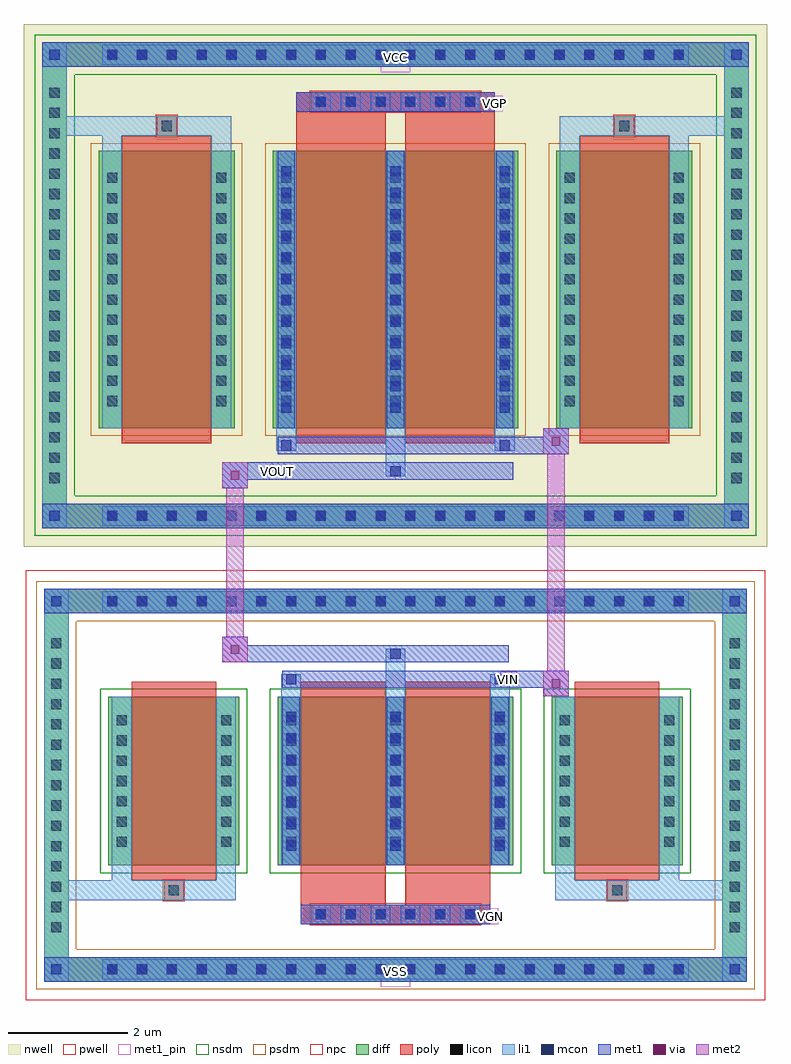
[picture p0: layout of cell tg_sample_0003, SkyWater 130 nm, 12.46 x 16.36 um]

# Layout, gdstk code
import gdstk
lib = gdstk.Library(unit=1e-6, precision=5e-09)
def R(c, l, rs):  # rectangles x0, y0, x1, y1
    for r in rs: c.add(gdstk.rectangle(r[:2], r[2:], *l))
def A(c, l, x, y, w, h, nx, ny, dx, dy):  # array of equal rectangles
    R(c, l, [(x+i*dx, y+j*dy, x+i*dx+w, y+j*dy+h) for i in range(nx) for j in range(ny)])
def P(c, l, *ps):  # polygons
    for p in ps: c.add(gdstk.Polygon(p, *l))
nwell = (64, 20)
pwell = (64, 44)
diff = (65, 20)
poly = (66, 20)
licon = (66, 44)
li1 = (67, 20)
mcon = (67, 44)
met1_pin = (68, 16)
met1 = (68, 20)
via = (68, 44)
met2 = (69, 20)
nsdm = (93, 44)
psdm = (94, 20)
npc = (95, 20)

tg_sample_0003 = lib.new_cell('tg_sample_0003')
R(tg_sample_0003, nwell, [(-6.23,4,6.23,12.76)])
R(tg_sample_0003, pwell, [(-6.2,-3.6,6.2,3.6)])
A(tg_sample_0003, diff, -4.955, -3.29, 0.41, 0.41, 20, 2, 0.5, 6.17)
A(tg_sample_0003, diff, -5.89, -2.585, 0.41, 0.41, 1, 15, 0, 0.34)
A(tg_sample_0003, diff, 5.48, -2.585, 0.41, 0.41, 1, 15, 0, 0.34)
A(tg_sample_0003, diff, -4.955, 4.31, 0.41, 0.41, 20, 2, 0.5, 7.73)
A(tg_sample_0003, diff, -5.92, 4.945, 0.41, 0.41, 1, 20, 0, 0.34)
A(tg_sample_0003, diff, 5.51, 4.945, 0.41, 0.41, 1, 20, 0, 0.34)
R(tg_sample_0003, diff, [(-4.955,-3.29,4.955,-2.88), (-5.89,-2.585,-5.48,2.585), (5.48,-2.585,5.89,2.585), (-4.815,-1.345,-2.615,1.485), (-1.975,-1.345,1.975,1.485), (2.615,-1.345,4.815,1.485), (-4.955,2.88,4.955,3.29), (-4.955,4.31,4.955,4.72), (-5.92,4.945,-5.51,11.815), (5.51,4.945,5.92,11.815), (-4.975,5.985,-2.695,10.635), (-2.055,5.985,2.055,10.635), (2.695,5.985,4.975,10.635), (-4.955,12.04,4.955,12.45)])
P(tg_sample_0003, diff, [(5.89,3.29),(-5.89,3.29),(-5.89,-2.88),(-5.48,-2.88),(-5.48,2.88),(5.48,2.88),(5.48,-2.88),(-5.48,-2.88),(-5.89,-2.88),(-5.89,-3.29),(5.89,-3.29)],
  [(5.92,4.31),(-5.92,4.31),(-5.92,12.04),(-5.51,12.04),(-5.51,4.72),(5.51,4.72),(5.51,12.04),(-5.51,12.04),(-5.92,12.04),(-5.92,12.45),(5.92,12.45)])
A(tg_sample_0003, poly, -1.415, -2.33, 0.33, 0.33, 6, 2, 0.5, 13.62)
R(tg_sample_0003, poly, [(-1.585,-2.33,1.585,-2), (-1.585,-2,-0.165,-1.595), (0.165,-2,1.585,-1.595), (-3.88,-1.925,-3.55,-1.595), (-3.88,-1.925,-3.55,-1.595), (3.55,-1.925,3.88,-1.595), (3.55,-1.925,3.88,-1.595), (-4.425,-1.595,-3.005,1.735), (-1.585,-1.595,-0.165,1.735), (0.165,-1.595,1.585,1.735), (3.005,-1.595,4.425,1.735), (-4.585,5.735,-3.085,10.885), (-1.665,5.735,-0.165,10.885), (0.165,5.735,1.665,10.885), (3.085,5.735,4.585,10.885), (-4,10.885,-3.67,11.215), (-4,10.885,-3.67,11.215), (-1.665,10.885,-0.165,11.29), (0.165,10.885,1.665,11.29), (3.67,10.885,4,11.215), (3.67,10.885,4,11.215), (-1.665,11.29,1.665,11.62)])
A(tg_sample_0003, licon, -4.835, -3.17, 0.17, 0.17, 20, 2, 0.5, 6.17)
A(tg_sample_0003, licon, -5.77, -2.465, 0.17, 0.17, 1, 15, 0, 0.34)
A(tg_sample_0003, licon, 5.6, -2.465, 0.17, 0.17, 1, 15, 0, 0.34)
A(tg_sample_0003, licon, -1.335, -2.25, 0.17, 0.17, 6, 2, 0.5, 13.62)
A(tg_sample_0003, licon, -4.675, -1.035, 0.17, 0.17, 1, 7, 0, 0.34)
A(tg_sample_0003, licon, -2.925, -1.035, 0.17, 0.17, 1, 7, 0, 0.34)
A(tg_sample_0003, licon, -1.835, -1.035, 0.17, 0.17, 3, 7, 1.75, 0.34)
A(tg_sample_0003, licon, 2.755, -1.035, 0.17, 0.17, 1, 7, 0, 0.34)
A(tg_sample_0003, licon, 4.505, -1.035, 0.17, 0.17, 1, 7, 0, 0.34)
A(tg_sample_0003, licon, -4.835, 4.43, 0.17, 0.17, 20, 2, 0.5, 7.73)
A(tg_sample_0003, licon, -5.8, 5.065, 0.17, 0.17, 1, 20, 0, 0.34)
A(tg_sample_0003, licon, 5.63, 5.065, 0.17, 0.17, 1, 20, 0, 0.34)
A(tg_sample_0003, licon, -4.835, 6.355, 0.17, 0.17, 1, 12, 0, 0.34)
A(tg_sample_0003, licon, -3.005, 6.355, 0.17, 0.17, 1, 12, 0, 0.34)
A(tg_sample_0003, licon, -1.915, 6.355, 0.17, 0.17, 3, 12, 1.83, 0.34)
A(tg_sample_0003, licon, 2.835, 6.355, 0.17, 0.17, 1, 12, 0, 0.34)
A(tg_sample_0003, licon, 4.665, 6.355, 0.17, 0.17, 1, 12, 0, 0.34)
R(tg_sample_0003, licon, [(-3.8,-1.845,-3.63,-1.675), (3.63,-1.845,3.8,-1.675), (-3.92,10.965,-3.75,11.135), (3.75,10.965,3.92,11.135)])
A(tg_sample_0003, li1, -4.915, -3.25, 0.33, 0.33, 20, 2, 0.5, 6.17)
A(tg_sample_0003, li1, -5.85, -2.545, 0.33, 0.33, 1, 15, 0, 0.34)
A(tg_sample_0003, li1, 5.52, -2.545, 0.33, 0.33, 1, 15, 0, 0.34)
A(tg_sample_0003, li1, -1.415, -2.33, 0.33, 0.33, 6, 2, 0.5, 13.62)
A(tg_sample_0003, li1, -1.915, -1.345, 0.33, 2.83, 3, 1, 1.75, 0)
A(tg_sample_0003, li1, -4.755, -1.115, 0.33, 0.33, 1, 7, 0, 0.34)
A(tg_sample_0003, li1, -3.005, -1.115, 0.33, 0.33, 1, 7, 0, 0.34)
A(tg_sample_0003, li1, -1.915, -1.115, 0.33, 0.33, 3, 7, 1.75, 0.34)
A(tg_sample_0003, li1, 2.675, -1.115, 0.33, 0.33, 1, 7, 0, 0.34)
A(tg_sample_0003, li1, 4.425, -1.115, 0.33, 0.33, 1, 7, 0, 0.34)
A(tg_sample_0003, li1, -1.835, -1.095, 0.17, 0.17, 3, 7, 1.75, 0.36)
A(tg_sample_0003, li1, -1.835, -1.095, 0.17, 2.33, 3, 1, 1.75, 0)
A(tg_sample_0003, li1, -4.915, 4.35, 0.33, 0.33, 20, 2, 0.5, 7.73)
A(tg_sample_0003, li1, -5.88, 4.985, 0.33, 0.33, 1, 20, 0, 0.34)
A(tg_sample_0003, li1, 5.55, 4.985, 0.33, 0.33, 1, 20, 0, 0.34)
A(tg_sample_0003, li1, -1.995, 5.985, 0.33, 4.65, 3, 1, 1.83, 0)
A(tg_sample_0003, li1, -1.915, 6.245, 0.17, 0.17, 3, 12, 1.83, 0.36)
A(tg_sample_0003, li1, -1.915, 6.245, 0.17, 4.13, 3, 1, 1.83, 0)
A(tg_sample_0003, li1, -4.915, 6.275, 0.33, 0.33, 1, 12, 0, 0.34)
A(tg_sample_0003, li1, -3.085, 6.275, 0.33, 0.33, 1, 12, 0, 0.34)
A(tg_sample_0003, li1, -1.995, 6.275, 0.33, 0.33, 3, 12, 1.83, 0.34)
A(tg_sample_0003, li1, 2.755, 6.275, 0.33, 0.33, 1, 12, 0, 0.34)
A(tg_sample_0003, li1, 4.585, 6.275, 0.33, 0.33, 1, 12, 0, 0.34)
R(tg_sample_0003, li1, [(-5.89,-3.29,-5.48,-2.88), (5.48,-3.29,5.89,-2.88), (-4.915,-3.25,4.915,-2.92), (-5.77,-3.17,-5.6,-3), (-5.77,-3.17,-5.6,-3), (5.6,-3.17,5.77,-3), (5.6,-3.17,5.77,-3), (-5.89,-2.88,-5.48,2.88), (5.48,-2.88,5.89,2.88), (-5.89,-1.925,-3.88,-1.595), (-4.755,-1.925,-3.88,-1.595), (-4.755,-1.925,-4.425,-1.345), (-3.88,-1.925,-3.55,-1.595), (-3.55,-1.925,-2.675,-1.595), (-3.005,-1.925,-2.675,-1.345), (2.675,-1.925,3.55,-1.595), (2.675,-1.925,3.005,-1.345), (3.55,-1.925,3.88,-1.595), (3.55,-1.925,5.89,-1.595), (3.88,-1.925,4.755,-1.595), (4.425,-1.925,4.755,-1.345), (-4.755,-1.345,-4.425,1.485), (-3.005,-1.345,-2.675,1.485), (2.675,-1.345,3.005,1.485), (4.425,-1.345,4.755,1.485), (-1.915,1.485,-1.585,1.86), (-0.165,1.485,0.165,2.29), (1.585,1.485,1.915,1.86), (-1.835,1.69,-1.665,1.86), (1.665,1.69,1.835,1.86), (-0.085,2.12,0.085,2.29), (-5.89,2.88,-5.48,3.29), (5.48,2.88,5.89,3.29), (-4.915,2.92,4.915,3.25), (-5.77,3,-5.6,3.17), (-5.77,3,-5.6,3.17), (5.6,3,5.77,3.17), (5.6,3,5.77,3.17), (-5.92,4.31,-5.51,4.72), (5.51,4.31,5.92,4.72), (-4.915,4.35,4.915,4.68), (-5.8,4.43,-5.63,4.6), (-5.8,4.43,-5.63,4.6), (5.63,4.43,5.8,4.6), (5.63,4.43,5.8,4.6), (-5.92,4.72,-5.51,12.04), (5.51,4.72,5.92,12.04), (-0.165,5.18,0.165,5.985), (-0.085,5.18,0.085,5.35), (-1.995,5.61,-1.665,5.985), (-1.915,5.61,-1.745,5.78), (1.665,5.61,1.995,5.985), (1.745,5.61,1.915,5.78), (-4.915,5.985,-4.585,10.635), (-3.085,5.985,-2.755,10.635), (2.755,5.985,3.085,10.635), (4.585,5.985,4.915,10.635), (-4.915,10.635,-4.585,11.215), (-3.085,10.635,-2.755,11.215), (2.755,10.635,3.085,11.215), (4.585,10.635,4.915,11.215), (-5.92,10.885,-4,11.215), (-4.915,10.885,-4,11.215), (-4,10.885,-3.67,11.215), (-3.67,10.885,-2.755,11.215), (2.755,10.885,3.67,11.215), (3.67,10.885,4,11.215), (3.67,10.885,5.92,11.215), (4,10.885,4.915,11.215), (-5.92,12.04,-5.51,12.45), (5.51,12.04,5.92,12.45), (-4.915,12.08,4.915,12.41), (-5.8,12.16,-5.63,12.33), (-5.8,12.16,-5.63,12.33), (5.63,12.16,5.8,12.33), (5.63,12.16,5.8,12.33)])
A(tg_sample_0003, mcon, -4.835, -3.17, 0.17, 0.17, 20, 2, 0.5, 6.17)
A(tg_sample_0003, mcon, -1.335, -2.25, 0.17, 0.17, 6, 2, 0.5, 13.62)
A(tg_sample_0003, mcon, -1.835, -1.095, 0.17, 0.17, 3, 7, 1.75, 0.36)
A(tg_sample_0003, mcon, -4.835, 4.43, 0.17, 0.17, 20, 2, 0.5, 7.73)
A(tg_sample_0003, mcon, -1.915, 6.245, 0.17, 0.17, 3, 12, 1.83, 0.36)
R(tg_sample_0003, mcon, [(-5.77,-3.17,-5.6,-3), (5.6,-3.17,5.77,-3), (-1.835,1.69,-1.665,1.86), (1.665,1.69,1.835,1.86), (-0.085,2.12,0.085,2.29), (-5.77,3,-5.6,3.17), (5.6,3,5.77,3.17), (-5.8,4.43,-5.63,4.6), (5.63,4.43,5.8,4.6), (-0.085,5.18,0.085,5.35), (-1.915,5.61,-1.745,5.78), (1.745,5.61,1.915,5.78), (-5.8,12.16,-5.63,12.33), (5.63,12.16,5.8,12.33)])
R(tg_sample_0003, met1_pin, [(-0.25,-3.38,0.25,-2.88), (1.45,-2.33,1.72,-2.06), (1.76,1.63,2.03,1.9), (-2.11,5.12,-1.84,5.39), (1.53,11.29,1.8,11.56), (-0.25,11.95,0.25,12.45)])
A(tg_sample_0003, met1, -4.895, -3.23, 0.29, 0.29, 20, 2, 0.5, 6.17)
A(tg_sample_0003, met1, -1.395, -2.31, 0.29, 0.29, 6, 2, 0.5, 13.62)
A(tg_sample_0003, met1, -1.895, -1.345, 0.29, 2.83, 3, 1, 1.75, 0)
A(tg_sample_0003, met1, -1.895, -1.155, 0.29, 0.29, 3, 7, 1.75, 0.36)
A(tg_sample_0003, met1, -4.895, 4.37, 0.29, 0.29, 20, 2, 0.5, 7.73)
A(tg_sample_0003, met1, -1.975, 5.985, 0.29, 4.65, 3, 1, 1.83, 0)
A(tg_sample_0003, met1, -1.975, 6.185, 0.29, 0.29, 3, 12, 1.83, 0.36)
R(tg_sample_0003, met1, [(-5.89,-3.29,-5.48,-2.88), (-5.89,-3.29,-5.48,-2.88), (-5.48,-3.29,5.48,-2.88), (5.48,-3.29,5.89,-2.88), (5.48,-3.29,5.89,-2.88), (-5.83,-3.23,-5.54,-2.94), (5.54,-3.23,5.83,-2.94), (-1.585,-2.33,1.585,-2), (2.475,1.49,2.905,1.92), (-1.895,1.63,-1.605,1.92), (-1.895,1.63,1.895,1.92), (1.605,1.63,1.895,1.92), (1.895,1.63,2.905,1.92), (-2.905,2.06,-1.895,2.35), (-2.905,2.06,-2.475,2.49), (-1.895,2.06,1.895,2.35), (-0.145,2.06,0.145,2.35), (-5.89,2.88,-5.48,3.29), (-5.89,2.88,-5.48,3.29), (-5.48,2.88,5.48,3.29), (5.48,2.88,5.89,3.29), (5.48,2.88,5.89,3.29), (-5.83,2.94,-5.54,3.23), (5.54,2.94,5.83,3.23), (-5.92,4.31,-5.51,4.72), (-5.92,4.31,-5.51,4.72), (-5.51,4.31,5.51,4.72), (5.51,4.31,5.92,4.72), (5.51,4.31,5.92,4.72), (-5.86,4.37,-5.57,4.66), (5.57,4.37,5.86,4.66), (-2.905,4.98,-2.475,5.41), (-2.905,5.12,-1.975,5.41), (-1.975,5.12,1.975,5.41), (-0.145,5.12,0.145,5.41), (-1.975,5.55,-1.685,5.84), (-1.975,5.55,1.975,5.84), (1.685,5.55,1.975,5.84), (1.975,5.55,2.905,5.84), (2.475,5.55,2.905,5.98), (-1.665,11.29,1.665,11.62), (-5.92,12.04,-5.51,12.45), (-5.92,12.04,-5.51,12.45), (-5.51,12.04,5.51,12.45), (5.51,12.04,5.92,12.45), (5.51,12.04,5.92,12.45), (-5.86,12.1,-5.57,12.39), (5.57,12.1,5.86,12.39)])
R(tg_sample_0003, via, [(2.615,1.63,2.765,1.78), (-2.765,2.2,-2.615,2.35), (-2.765,5.12,-2.615,5.27), (2.615,5.69,2.765,5.84)])
R(tg_sample_0003, met2, [(2.475,1.49,2.905,1.92), (2.545,1.49,2.835,5.98), (2.835,1.49,2.905,1.92), (2.525,1.54,2.855,1.87), (-2.905,2.06,-2.475,2.49), (-2.835,2.06,-2.545,5.41), (-2.545,2.06,-2.475,2.49), (-2.855,2.11,-2.525,2.44), (-2.905,4.98,-2.475,5.41), (-2.545,4.98,-2.475,5.41), (-2.855,5.03,-2.525,5.36), (2.475,5.55,2.905,5.98), (2.835,5.55,2.905,5.98), (2.525,5.6,2.855,5.93)])
R(tg_sample_0003, nsdm, [(-4.945,-1.475,-2.485,1.615), (-2.105,-1.475,2.105,1.615), (2.485,-1.475,4.945,1.615)])
P(tg_sample_0003, nsdm, [(6.05,4.18),(-6.05,4.18),(-6.05,11.91),(-5.38,11.91),(-5.38,4.85),(5.38,4.85),(5.38,11.91),(-5.38,11.91),(-6.05,11.91),(-6.05,12.58),(6.05,12.58)])
R(tg_sample_0003, psdm, [(-5.105,5.855,-2.565,10.765), (-2.185,5.855,2.185,10.765), (2.565,5.855,5.105,10.765)])
P(tg_sample_0003, psdm, [(6.02,3.42),(-6.02,3.42),(-6.02,-2.75),(-5.35,-2.75),(-5.35,2.75),(5.35,2.75),(5.35,-2.75),(-5.35,-2.75),(-6.02,-2.75),(-6.02,-3.42),(6.02,-3.42)])
A(tg_sample_0003, npc, -1.435, -2.35, 0.37, 0.37, 6, 2, 0.5, 13.62)
R(tg_sample_0003, npc, [(-1.435,-2.35,-0.565,-1.98), (-1.435,-2.35,-0.565,-1.98), (-0.935,-2.35,-0.065,-1.98), (-0.935,-2.35,-0.065,-1.98), (-0.435,-2.35,0.435,-1.98), (-0.435,-2.35,0.435,-1.98), (0.065,-2.35,0.935,-1.98), (0.065,-2.35,0.935,-1.98), (0.565,-2.35,1.435,-1.98), (0.565,-2.35,1.435,-1.98), (-3.9,-1.945,-3.53,-1.575), (3.53,-1.945,3.9,-1.575), (-4.02,10.865,-3.65,11.235), (3.65,10.865,4.02,11.235), (-1.435,11.27,-0.565,11.64), (-1.435,11.27,-0.565,11.64), (-0.935,11.27,-0.065,11.64), (-0.935,11.27,-0.065,11.64), (-0.435,11.27,0.435,11.64), (-0.435,11.27,0.435,11.64), (0.065,11.27,0.935,11.64), (0.065,11.27,0.935,11.64), (0.565,11.27,1.435,11.64), (0.565,11.27,1.435,11.64)])
tg_sample_0003.add(gdstk.Label('VIN', (1.895,1.765), layer=68, texttype=5))
tg_sample_0003.add(gdstk.Label('VGN', (1.585,-2.195), layer=68, texttype=5))
tg_sample_0003.add(gdstk.Label('VGP', (1.665,11.425), layer=68, texttype=5))
tg_sample_0003.add(gdstk.Label('VSS', (0,-3.13), layer=68, texttype=5))
tg_sample_0003.add(gdstk.Label('VCC', (0,12.2), layer=68, texttype=5))
tg_sample_0003.add(gdstk.Label('VOUT', (-1.975,5.255), layer=68, texttype=5))

lib.write_gds('tg_sample_0003.gds')
